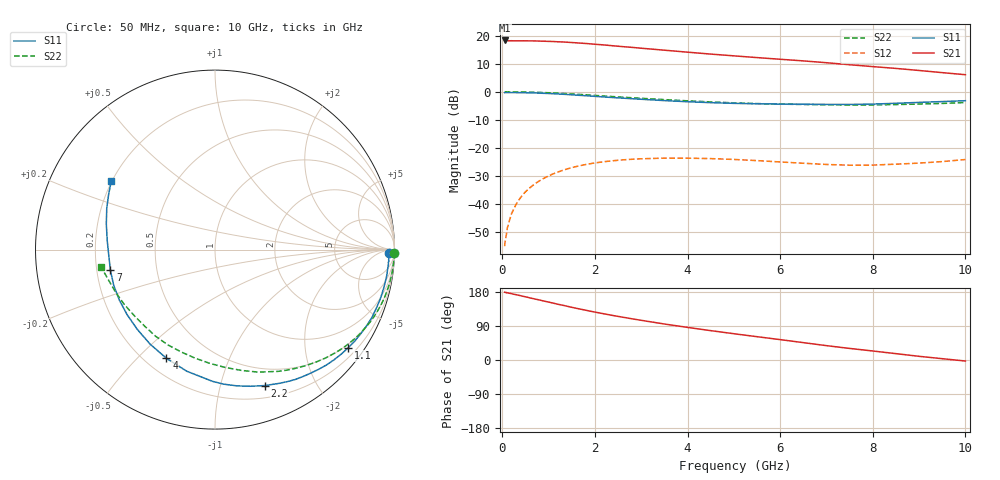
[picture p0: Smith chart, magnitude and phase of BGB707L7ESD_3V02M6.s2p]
!  Infineon Technologies AG
!  BGB707L7ESD RU919007 w#7 Sample Build #08493 Teil Nr. 3
!  Vce = 3.0V, Ic = 2.6mA
!  DATUM: 30.06.2009 10:17:48
# GHz  S  MA  R  50
!f  S11  S21  S12  S22
!GHz  Mag  Ang  Mag  Ang  Mag  Ang  Mag  Ang
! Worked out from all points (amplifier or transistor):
!   52 points, 50 MHz to 10 GHz, reference 50 ohm
!   highest |S21| = 18.4 dB at 60 MHz (marker M1)
!   |S21| within 3 dB of that: start of sweep to 3.158 GHz
!   unconditionally stable (mu >= 1): 6.907 GHz to end of sweep
!   at 130 MHz: K = 0.01, MSG = 32.9 dB, |S12| = -47.6 dB
!   at 1.4 GHz: K = 0.08, MSG = 22.7 dB, |S12| = -27.6 dB
!   at 10 GHz: K = 1.07, MAG = 13.6 dB, |S12| = -24.2 dB
!   lowest NFmin = 0.40 dB at 100 MHz
!   S11 on the Smith chart (normalised r, x): 50 MHz: 42, -28; 1.1 GHz: 0.41, -2.99; 2.2 GHz: 0.32, -1.38; 4 GHz: 0.28, -0.61; 7 GHz: 0.26, -0.09; 10 GHz: 0.20, +0.29
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0.05  0.9677 -1.3  8.131 178.8  0.001729 93.3  0.9987 -1.0
0.06  0.9736 -2.5  8.28 178.6  0.002076 85.6  0.999 -1.3
0.08  0.9676 -2.5  8.137 177.8  0.00258 87.0  0.9988 -1.8
0.09  0.9703 -3.0  8.206 178.2  0.002845 87.2  0.9991 -2.1
0.1  0.9687 -3.4  8.164 177.3  0.003208 88.1  0.9985 -2.3
0.2  0.9678 -6.8  8.191 175.1  0.006569 86.0  0.9974 -4.7
0.35  0.9648 -11.7  8.163 170.9  0.01138 82.1  0.9939 -8.2
0.7  0.9527 -23.3  8.124 161.1  0.02244 74.4  0.9798 -16.4
1.1  0.9219 -36.4  7.926 150.0  0.03405 65.3  0.9516 -25.6
1.5  0.8824 -49.1  7.601 139.1  0.04391 56.7  0.9138 -34.5
1.8  0.8508 -58.3  7.313 131.4  0.04988 50.6  0.8823 -40.7
2.2  0.8069 -69.9  6.879 121.8  0.05614 43.3  0.8396 -48.6
2.8  0.7517 -86.1  6.23 108.7  0.06204 34.0  0.7817 -59.2
3.5  0.6956 -103.1  5.544 95.0  0.06498 25.2  0.7243 -70.5
4  0.6634 -114.1  5.113 86.0  0.06491 20.1  0.6885 -77.8
4.5  0.6389 -124.4  4.723 77.5  0.06374 16.2  0.6586 -85.2
5.5  0.6093 -143.5  4.087 61.5  0.05871 11.5  0.6147 -100.4
6.5  0.5983 -160.6  3.568 45.8  0.05262 12.2  0.5924 -116.2
7  0.5941 -168.8  3.309 37.9  0.05007 14.7  0.5854 -124.4
8.5  0.622 166.8  2.617 16.8  0.05069 28.0  0.5904 -148.7
9  0.6455 159.1  2.403 9.7  0.05293 31.6  0.6029 -157.0
10  0.6922 146.6  2.019 -2.7  0.06136 37.0  0.6418 -171.3
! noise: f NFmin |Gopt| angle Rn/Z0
0.1  0.4  0.63  2  0.21
0.45  0.47  0.63  4  0.21
0.9  0.57  0.65  13  0.2
1.8  0.64  0.51  35  0.2
5  1.07  0.41  77  0.19
10  1.82  0.45  -140  0.13
